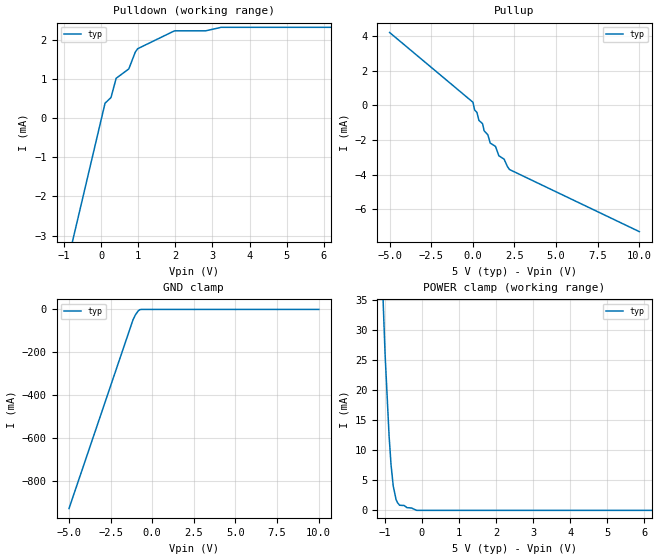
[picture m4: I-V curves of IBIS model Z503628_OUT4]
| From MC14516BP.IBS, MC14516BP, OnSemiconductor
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| (C) COPYRIGHT 1993-2000
| MENTOR GRAPHICS CORPORATION
| ICX STANDARD LIBRARY, ICX PROJECT MODELING,
| ICX CUSTOM MODELING, ICX VENDOR MODEL
| ALL RIGHTS RESERVED.
| THE FOLLOWING ARE TRADEMARKS OR SERVICE MARKS OF
| MENTOR GRAPHICS CORPORATION:ICX (R), ICX STANDARD
| LIBRARY(R), ICX PROJECT MODELING(R), ICX CUSTOM
| MODELING(R), qualityIBIS(TM), MODELVIEWER(TM),
| AND MODELEDITOR(TM)
| ALL COPIES OF SOFTWARE, INCLUDING BUT NOT LIMITED TO
| ANY MODIFICATIONS, ENHANCEMENTS OR DERIVATIVE WORKS,
| MUST CONTAIN ALL MENTOR GRAPHICS CORPORATION'S
| NOTICES AND LEGENDS, INCLUDING THOSE EMBEDDED IN
| SOFTWARE AND THOSE AFFIXED TO SOFTWARE MEDIUM
| AND CONTAINER, AS RECEIVED FROM MENTOR GRAPHICS
| CORPORATION.
| Model Application Version 1.89 2/18/99.
[Model] Z503628_OUT4
Model_type Output
Vref=0.000V
Rref=500.0Mohms
Cref=50.00pF
Vmeas=2.500V
C_comp 8.000pF NA NA
| variable typ   min   max
[Voltage Range] 5.000V NA NA
[POWER Clamp Reference] 5.000V NA NA
[Pullup Reference] 5.000V NA NA
[Pulldown Reference] 0.000V NA NA
[GND Clamp Reference] 0.000V NA NA
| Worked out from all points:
|   slope of the pulldown table from 0 to 0.75 V, typ, clamps not added: 569 ohm
|   slope of the pullup table from 0 to 0.75 V, typ, clamps not added: 434 ohm
|   GND clamp passes 1 mA (typ) near -0.74 V on its own axis
|   POWER clamp passes 1 mA (typ) near -0.62 V on its own axis
[GND Clamp]
-5V       -926.2mA   NA         NA
-1.152V   -47.57mA   NA         NA
-1.016V   -25.79mA   NA         NA
-839.3mV  -6.38mA    NA         NA
-746.9mV  -1.109mA   NA         NA
-653.5mV  0A         NA         NA
10V       0A         NA         NA
[Pulldown]
-5V       -20.23mA   NA         NA
107mV     389.8uA    NA         NA
267mV     534.4uA    NA         NA
407mV     1.029mA    NA         NA
747.1mV   1.268mA    NA         NA
922.9mV   1.701mA    NA         NA
986.3mV   1.786mA    NA         NA
1.978V    2.244mA    NA         NA
2.817V    2.244mA    NA         NA
3.236V    2.334mA    NA         NA
10V       2.334mA    NA         NA
[Pullup]
-5V       4.208mA    NA         NA
5mV       181.6uA    NA         NA
363mV     -865.9uA   NA         NA
582mV     -1.055mA   NA         NA
679mV     -1.47mA    NA         NA
903mV     -1.701mA   NA         NA
1.04V     -2.173mA   NA         NA
1.36V     -2.369mA   NA         NA
1.561V    -2.911mA   NA         NA
1.875V    -3.103mA   NA         NA
2.197V    -3.702mA   NA         NA
10V       -7.291mA   NA         NA
[POWER Clamp]
-5V       800mA      NA         NA
-1.172V   57.11mA    NA         NA
-986mV    25.93mA    NA         NA
-879mV    12.45mA    NA         NA
-825mV    7.513mA    NA         NA
-766mV    4.008mA    NA         NA
-689mV    1.779mA    NA         NA
-595mV    850.7uA    NA         NA
-472mV    801.7uA    NA         NA
-395mV    449.4uA    NA         NA
-136.5mV  0A         NA         NA
10V       0A         NA         NA
[Ramp]
| variable typ min max
dV/dt_r 2.479/17.12n NA NA
dV/dt_f 2.479/21.65n NA NA
R_load = 2.500kOhms
